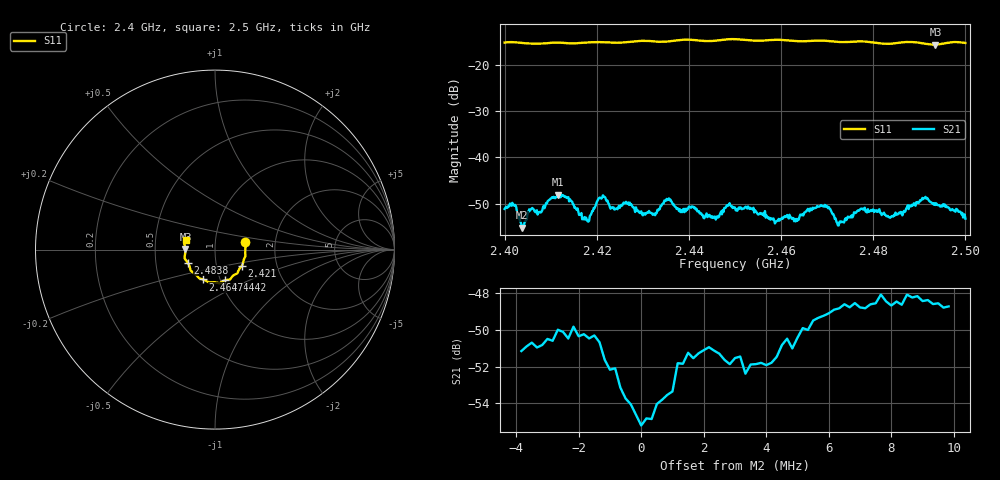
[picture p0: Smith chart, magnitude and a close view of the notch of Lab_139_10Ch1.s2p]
# Hz S RI R 50
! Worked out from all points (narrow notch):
!   601 points, 2.4 GHz to 2.5 GHz, reference 50 ohm
!   highest |S21| = -48.08 dB at 2.4115 GHz (marker M1); lowest = -55.2 dB at 2.4038 GHz (marker M2)
!   notch at M2: 3.9 dB deep, 1.64 MHz wide at half that depth
!   lowest |S11| = -15.7 dB at 2.4935 GHz (marker M3), VSWR 1.40, Z = 35.8 + j0.19 ohm
!   |S11| at or under -10 dB: start of sweep to end of sweep
!   S12 and S22 are empty: the file has one direction only
!   S11 on the Smith chart (normalised r, x): 2.4 GHz: 1.40, +0.12; 2.421 GHz: 1.33, -0.24; 2.4442 GHz: 1.05, -0.37; 2.4647 GHz: 0.83, -0.28; 2.4838 GHz: 0.73, -0.11; 2.5 GHz: 0.71, +0.08
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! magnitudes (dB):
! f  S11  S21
! 2.4 GHz  -15.2  -51.2
! 2.402 GHz  -15.1  -50.2
! 2.4038 GHz  -15.3  -55.2
! 2.4115 GHz  -15.2  -48.1
! 2.4167 GHz  -15.3  -52.0
! 2.4183 GHz  -15.2  -53.7
! 2.421 GHz  -15.1  -48.9
! 2.4333 GHz  -15.0  -51.5
! 2.4357 GHz  -15.0  -48.9
! 2.4442 GHz  -14.9  -52.7
! 2.45 GHz  -14.5  -50.9
! 2.459 GHz  -14.6  -53.8
! 2.4647 GHz  -14.9  -52.3
! 2.4667 GHz  -14.8  -51.4
! 2.47 GHz  -14.9  -50.6
! 2.4725 GHz  -15.1  -54.7
! 2.4777 GHz  -15.0  -51.1
! 2.4833 GHz  -15.5  -52.9
! 2.4838 GHz  -15.5  -52.9
! 2.4912 GHz  -15.5  -48.8
! 2.4935 GHz  -15.7  -50.3
! 2.5 GHz  -15.3  -53.3
